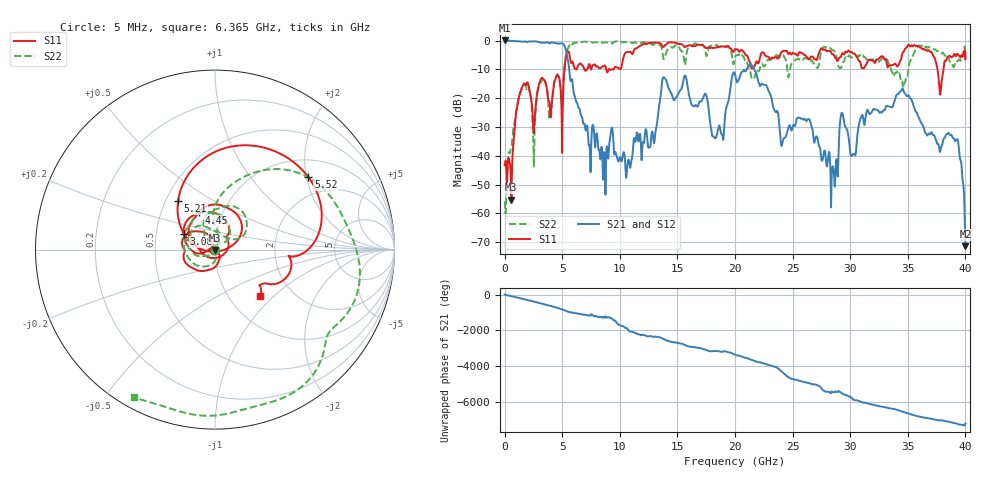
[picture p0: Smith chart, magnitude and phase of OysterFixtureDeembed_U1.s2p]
# MHz MA S R 50.0
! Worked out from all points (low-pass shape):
!   8000 points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, 5 MHz to 40 GHz, reference 50 ohm
!   highest |S21| = 0.07 dB at 5 MHz (marker M1); lowest = -71.4 dB at 40 GHz (marker M2)
!   |S21| within 3 dB of the highest: start of sweep to 5.303 GHz
!   lowest |S11| = -55.3 dB at 590 MHz (marker M3), VSWR 1.00, Z = 50 - j0.169 ohm
!   |S11| at or under -10 dB: start of sweep to 5.197 GHz; 6.935 GHz to 7.182 GHz (246.5 MHz wide, 3.49 % of centre); 37.58 GHz to 38.1 GHz (517.3 MHz wide, 1.37 % of centre)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
!   |S22| runs from -60.0 to -0.2 dB; largest |S21 - S12| = 0.0078
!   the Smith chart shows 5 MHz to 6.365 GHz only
!   S11 on the Smith chart (normalised r, x): 5 MHz: 0.99, -0.00; 3.08 GHz: 0.69, +0.13; 4.45 GHz: 0.77, +0.34; 5.21 GHz: 0.58, +0.35; 5.52 GHz: 1.44, +2.05; 6.365 GHz: 1.39, -0.83
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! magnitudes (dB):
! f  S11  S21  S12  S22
! 5 MHz  -43.3  0.1  0.1  -55.8
! 590 MHz  -55.3  -0.1  -0.1  -36.9
! 1.425 GHz  -17.2  -0.3  -0.3  -17.4
! 2.545 GHz  -31.5  -0.2  -0.2  -43.7
! 3.08 GHz  -14.2  -0.6  -0.6  -14.2
! 4.45 GHz  -12.9  -0.9  -0.9  -12.8
! 5.21 GHz  -9.4  -1.9  -1.9  -9.0
! 5.52 GHz  -3.6  -7.3  -7.3  -2.5
! 6.365 GHz  -8.8  -22.7  -22.7  -0.6
! 6.675 GHz  -8.2  -26.2  -26.2  -0.5
! 10.7 GHz  -3.9  -42.3  -42.3  -0.7
! 13.34 GHz  -0.7  -25.0  -25.0  -1.4
! 15.66 GHz  -2.2  -12.1  -12.1  -8.6
! 18.88 GHz  -2.0  -32.5  -32.5  -1.8
! 20 GHz  -3.0  -11.6  -11.6  -5.8
! 26.67 GHz  -5.5  -30.1  -30.2  -6.8
! 28.5 GHz  -4.7  -43.8  -43.8  -3.4
! 29.28 GHz  -4.6  -25.0  -25.2  -8.5
! 30.27 GHz  -4.5  -39.4  -39.6  -5.9
! 33.34 GHz  -8.8  -22.8  -22.9  -7.8
! 39.22 GHz  -5.1  -34.4  -34.5  -7.9
! 40 GHz  -6.5  -71.4  -69.5  -6.5
